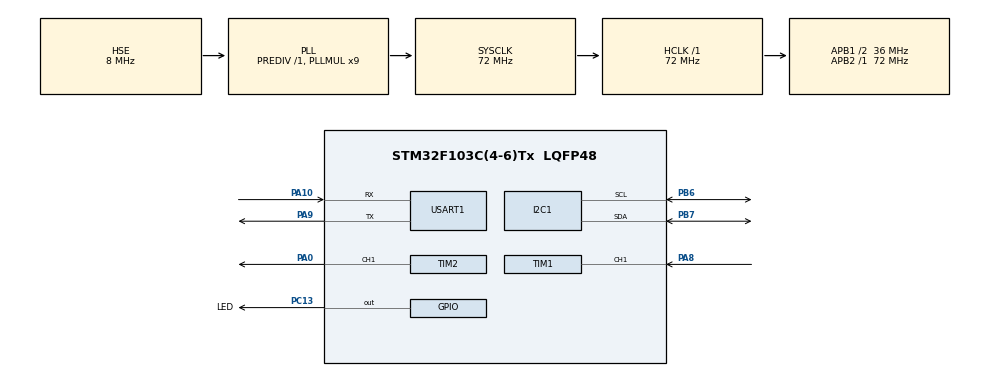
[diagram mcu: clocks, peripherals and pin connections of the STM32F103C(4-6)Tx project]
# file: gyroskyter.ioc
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Dma.Request0=TIM2_CH1
Dma.TIM2_CH1.0.Direction=DMA_MEMORY_TO_PERIPH
Dma.TIM2_CH1.0.Instance=DMA1_Channel5
Dma.TIM2_CH1.0.MemDataAlignment=DMA_MDATAALIGN_HALFWORD
Dma.TIM2_CH1.0.MemInc=DMA_MINC_ENABLE
Dma.TIM2_CH1.0.Mode=DMA_NORMAL
Dma.TIM2_CH1.0.PeriphDataAlignment=DMA_PDATAALIGN_HALFWORD
Dma.TIM2_CH1.0.PeriphInc=DMA_PINC_DISABLE
Dma.TIM2_CH1.0.Priority=DMA_PRIORITY_LOW
Mcu.Family=STM32F1
Mcu.Name=STM32F103C(4-6)Tx
Mcu.Package=LQFP48
NVIC.DMA1_Channel5_IRQn=true\:0\:0\:false\:false\:true\:false\:true\:true
NVIC.FLASH_IRQn=true\:0\:0\:false\:false\:true\:true\:true\:true
NVIC.I2C1_EV_IRQn=true\:0\:0\:false\:false\:true\:true\:true\:true
NVIC.PriorityGroup=NVIC_PRIORITYGROUP_4
NVIC.RCC_IRQn=true\:0\:0\:false\:false\:true\:true\:false\:true
NVIC.TIM1_BRK_IRQn=true\:0\:0\:false\:false\:true\:true\:true\:true
NVIC.TIM1_CC_IRQn=true\:0\:0\:false\:false\:true\:true\:true\:true
NVIC.TIM1_TRG_COM_IRQn=true\:0\:0\:false\:false\:true\:true\:true\:true
NVIC.TIM1_UP_IRQn=true\:0\:0\:false\:false\:true\:true\:true\:true
NVIC.TIM2_IRQn=true\:0\:0\:false\:false\:true\:true\:true\:true
NVIC.USART1_IRQn=true\:0\:0\:false\:false\:true\:true\:true\:true
PA0-WKUP.Signal=S_TIM2_CH1_ETR
PA10.Mode=Asynchronous
PA10.Signal=USART1_RX
PA13.Mode=Trace_Asynchronous_SW
PA13.Signal=SYS_JTMS-SWDIO
PA14.Mode=Trace_Asynchronous_SW
PA14.Signal=SYS_JTCK-SWCLK
PA8.Signal=S_TIM1_CH1
PA9.Mode=Asynchronous
PA9.Signal=USART1_TX
PB3.Mode=Trace_Asynchronous_SW
PB3.Signal=SYS_JTDO-TRACESWO
PB6.Mode=I2C
PB6.Signal=I2C1_SCL
PB7.Mode=I2C
PB7.Signal=I2C1_SDA
PC13-TAMPER-RTC.GPIO_Label=LED
PC13-TAMPER-RTC.Signal=GPIO_Output
PD0-OSC_IN.Mode=HSE-External-Oscillator
PD0-OSC_IN.Signal=RCC_OSC_IN
PD1-OSC_OUT.Mode=HSE-External-Oscillator
PD1-OSC_OUT.Signal=RCC_OSC_OUT
ProjectManager.HeapSize=0x200
ProjectManager.StackSize=0x400
ProjectManager.TargetToolchain=STM32CubeIDE
RCC.AHBFreq_Value=72000000
RCC.APB1CLKDivider=RCC_HCLK_DIV2
RCC.APB1Freq_Value=36000000
RCC.APB1TimFreq_Value=72000000
RCC.APB2Freq_Value=72000000
RCC.APB2TimFreq_Value=72000000
RCC.HCLKFreq_Value=72000000
RCC.PLLMUL=RCC_PLL_MUL9
RCC.PLLSourceVirtual=RCC_PLLSOURCE_HSE
RCC.SYSCLKFreq_VALUE=72000000
RCC.SYSCLKSource=RCC_SYSCLKSOURCE_PLLCLK
RCC.USBFreq_Value=72000000
SH.S_TIM1_CH1.0=TIM1_CH1,Input_Capture1_from_TI1
SH.S_TIM1_CH1.1=TIM1_CH1,TriggerSource_TI1FP1
SH.S_TIM2_CH1_ETR.0=TIM2_CH1,PWM Generation1 CH1
TIM1.Channel-Input_Capture1_from_TI1=TIM_CHANNEL_1
TIM1.Channel-Input_Capture2_from_TI1_63=TIM_CHANNEL_2
TIM1.ICPolarity_CH2=TIM_INPUTCHANNELPOLARITY_FALLING
TIM1.Period=65000
TIM1.Prescaler=71
TIM2.Channel-PWM\ Generation1\ CH1=TIM_CHANNEL_1
TIM2.Period=65450
TIM2.Prescaler=22-1
TIM2.Pulse-PWM\ Generation1\ CH1=5700
USART1.VirtualMode=VM_ASYNC
VP_TIM1_VS_ControllerModeReset.Mode=Reset Mode
VP_TIM1_VS_indirect_ch1.Mode=Input_Capture2_from_TI1_63
board=custom

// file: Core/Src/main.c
/* USER CODE BEGIN Header */
/**
  ******************************************************************************
  * @file           : main.c
  * @brief          : Main program body
  ******************************************************************************
  * @attention
  *
  * Copyright (c) 2024 STMicroelectronics.
  * All rights reserved.
  *
  * This software is licensed under terms that can be found in the LICENSE file
  * in the root directory of this software component.
  * If no LICENSE file comes with this software, it is provided AS-IS.
  *
  ******************************************************************************
  */
/* USER CODE END Header */
#include "main.h"
#include "dma.h"
#include "i2c.h"
#include "tim.h"
#include "usart.h"
#include "gpio.h"

/* USER CODE BEGIN Includes */
//#include "MCU6050.h"
/* USER CODE END Includes */

/* USER CODE BEGIN PM */
int _write(int32_t file, uint8_t ptr, int32_t len)
    {
        for (int i = 0; i < len; i++)
        {
            ITM_SendChar(ptr++);
        }
        return len;
    }
/* USER CODE END PM */

void SystemClock_Config(void);

/* USER CODE BEGIN 0 */
//void MPU_6050_Init(void){
//	int check=0;
//	int data=0;
//
//	HAL_I2C_Mem_Read(&hi2c1, MPU6050_ADDRESS_AD0_LOW, MPU6050_RA_WHO_AM_I, 1, &check, 1, 1000);
//	if (check==104) {
//	HAL_I2C_Mem_Write(&hi2c1, MPU6050_ADDRESS_AD0_LOW, MPU6050_RA_PWR_MGMT_1, 1, &data, 1, 1000);
//	data = 0x07;
//	HAL_I2C_Mem_Write(&hi2c1, MPU6050_ADDRESS_AD0_LOW, MPU6050_RA_SMPLRT_DIV, 1, &data, 1, 1000);
//
//	data = 0x00;
//	HAL_I2C_Mem_Write(&hi2c1, MPU6050_ADDRESS_AD0_LOW, MPU6050_RA_ACCEL_CONFIG, 1, &data, 1, 1000);
//	data = 0x00;
//	HAL_I2C_Mem_Write(&hi2c1, MPU6050_ADDRESS_AD0_LOW, MPU6050_RA_GYRO_CONFIG, 1, &data, 1, 1000);
//	}
//}

int16_t Accel_X_RAW = 0;
int16_t Accel_Y_RAW = 0;
int16_t Accel_Z_RAW = 0;
uint8_t Data1;
int16_t Gyro_X_RAW = 0;
int16_t Gyro_Y_RAW = 0;
int16_t Gyro_Z_RAW = 0;
int16_t  Accel_X_Filtr = 0;

uint32_t  timme = 0;
uint32_t byte_counter = 0;
uint32_t check_byte = 0;

const int NUM_READ = 30;
int filter()
{

	long sum = 0;
	for (int i = 0; i < NUM_READ; i++)  // согласно количеству усреднений
	    sum += Accel_X_RAW;                  // суммируем значения с любого датчика в переменную sum
	  return ((int)sum / NUM_READ);

}

/* USER CODE END 0 */

int main(void)
{
  /* USER CODE BEGIN 1 */
	uint8_t rx_buff[10] = {0};
	int new_int = 0;

	uint8_t str[100];

  /* USER CODE END 1 */

  /* MCU Configuration--------------------------------------------------------*/

  /* Reset of all peripherals, Initializes the Flash interface and the Systick. */
  HAL_Init();

  /* Configure the system clock */
  SystemClock_Config();

  /* Initialize all configured peripherals */
  MX_GPIO_Init();
  MX_DMA_Init();
  MX_I2C1_Init();
  MX_TIM1_Init();
  MX_USART1_UART_Init();
  MX_TIM2_Init();
  /* USER CODE BEGIN 2 */
//  uint8_t Rec_Data[6]={0,0,0,0,0,0};
//  MPU_6050_Init();
  /* USER CODE END 2 */

  /* Infinite loop */
  /* USER CODE BEGIN WHILE */
  HAL_TIM_Base_Start_IT(&htim2);
  HAL_TIM_PWM_Start_IT(&htim2,TIM_CHANNEL_1);
  void servo_deg(uint8_t deg){
  		deg >=360? deg=360: deg;
  		deg ==0? deg = 0:deg;
  		TIM2->CCR1 = 7500 - (deg*35);

  }

  goto mark;

  mark: {
	  byte_counter = 0;
	  new_int = 0;
	  check_byte =0;
  	for(int i = 0; i <=1; i ++) rx_buff[i] = 0x0;
  	*rx_buff = 0;
  	HAL_UART_Transmit(&huart1,"Enter ugol\r",11,60);
  	HAL_UART_Receive_IT(&huart1,rx_buff,100);
  	//while ((USART1->SR & USART_SR_RXNE)==0) ;
  	 while (HAL_UART_Receive_IT(&huart1,rx_buff,100)!=HAL_OK)
  	  	  {
  			 __NOP();
  		  }

	   	new_int = atoi(rx_buff);
//	   	HAL_Delay(100);
    if (new_int>=0 && new_int<271)// допустимый угол поворота зависит от конструкции сервопривода

  	 {
    //	HAL_Delay(100);
  	servo_deg(new_int);
//	HAL_Delay(100);
  //	servo_deg(0);

  	//HAL_UART_Transmit(&huart1,"Povernul na ugol",17,60);
  	sprintf(str, "Povernul na ugol %d\r", new_int);

  	HAL_UART_Transmit(&huart1,str, strlen((char *)str),60);
  	 }
  	  	  else
  	  	  {
  	  		HAL_UART_Transmit(&huart1,"Wrong number\r", sizeof("Wrong number\r"),60);
  	  	  }

  	goto mark;
  }
  while (1)
  {
//HAL_Delay(1000);
//servo_deg(90);
//HAL_Delay(1000);
//servo_deg(180);
//HAL_Delay(1000);
//servo_deg(180);
//	  HAL_I2C_Mem_Read(&hi2c1,MPU6050_ADDRESS_AD0_LOW, MPU6050_RA_ACCEL_XOUT_H, 1, Rec_Data, 6, 1000);
//	                        Accel_X_RAW = (int16_t)(Rec_Data[0] << 8 | Rec_Data [1]);
//	                        Accel_Y_RAW = (int16_t)(Rec_Data[2] << 8 | Rec_Data [3]);
//	                        Accel_Z_RAW = (int16_t)(Rec_Data[4] << 8 | Rec_Data [5]);
//
//	                      HAL_Delay(10);
//
//
//	                        HAL_I2C_Mem_Read(&hi2c1,MPU6050_ADDRESS_AD0_LOW, MPU6050_RA_GYRO_XOUT_H, 1, Rec_Data, 6, 1000);
//	                        Gyro_X_RAW = (int16_t)(Rec_Data[0] << 8 | Rec_Data [1]);
//	                        Gyro_Y_RAW = (int16_t)(Rec_Data[2] << 8 | Rec_Data [3]);
//	                        Gyro_Z_RAW = (int16_t)(Rec_Data[4] << 8 | Rec_Data [5]);
//
//
//
//
//
//							 if((HAL_GetTick() - timme) > 1000){
//								// что-то делаем
//								timme = HAL_GetTick();
//
//								Accel_X_Filtr = filter();
//
//
//								 if (Accel_X_Filtr > 4000){
//
//
//									 servo_deg(Accel_X_Filtr / 90);
//
//								 }
//
//								 if (Accel_X_Filtr > -300 && Accel_X_Filtr < 300)
//									 servo_deg(90);
//
//								 if (Accel_X_Filtr < -4000 )
//									 servo_deg((180 - Accel_X_Filtr / -90 ));
//
//								 HAL_Delay(100);
//								 TIM2->CCR1=(-Accel_X_Filtr/8)+3300;

//							}

    /* USER CODE END WHILE */

  }
}

void SystemClock_Config(void)
{
  RCC_OscInitTypeDef RCC_OscInitStruct = {0};
  RCC_ClkInitTypeDef RCC_ClkInitStruct = {0};

  /** Initializes the RCC Oscillators according to the specified parameters
  * in the RCC_OscInitTypeDef structure.
  */
  RCC_OscInitStruct.OscillatorType = RCC_OSCILLATORTYPE_HSE;
  RCC_OscInitStruct.HSEState = RCC_HSE_ON;
  RCC_OscInitStruct.HSEPredivValue = RCC_HSE_PREDIV_DIV1;
  RCC_OscInitStruct.HSIState = RCC_HSI_ON;
  RCC_OscInitStruct.PLL.PLLState = RCC_PLL_ON;
  RCC_OscInitStruct.PLL.PLLSource = RCC_PLLSOURCE_HSE;
  RCC_OscInitStruct.PLL.PLLMUL = RCC_PLL_MUL9;
  if (HAL_RCC_OscConfig(&RCC_OscInitStruct) != HAL_OK)
  {
    Error_Handler();
  }

  /** Initializes the CPU, AHB and APB buses clocks
  */
  RCC_ClkInitStruct.ClockType = RCC_CLOCKTYPE_HCLK|RCC_CLOCKTYPE_SYSCLK
                              |RCC_CLOCKTYPE_PCLK1|RCC_CLOCKTYPE_PCLK2;
  RCC_ClkInitStruct.SYSCLKSource = RCC_SYSCLKSOURCE_PLLCLK;
  RCC_ClkInitStruct.AHBCLKDivider = RCC_SYSCLK_DIV1;
  RCC_ClkInitStruct.APB1CLKDivider = RCC_HCLK_DIV2;
  RCC_ClkInitStruct.APB2CLKDivider = RCC_HCLK_DIV1;

  if (HAL_RCC_ClockConfig(&RCC_ClkInitStruct, FLASH_LATENCY_2) != HAL_OK)
  {
    Error_Handler();
  }
}

void Error_Handler(void)
{
  __disable_irq();
  while (1)
  {
  }
}
